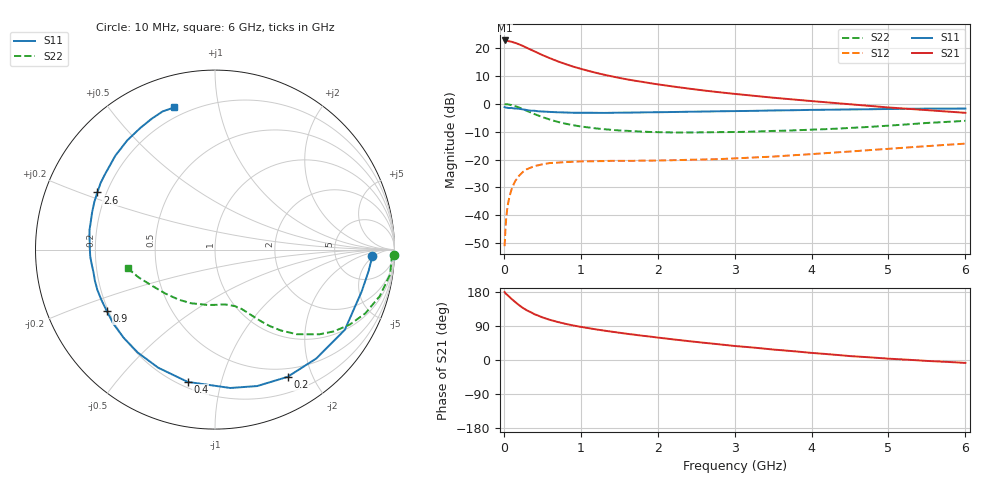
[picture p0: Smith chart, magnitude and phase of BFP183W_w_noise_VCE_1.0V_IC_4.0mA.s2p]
! Infineon Technologies  Discrete & RF Semiconductors
! BFP183W
! VCE =  1.0 V,  IC =  4.0 mA
! Common Emitter S-Parameters:  Jan 2017
# GHz  S  MA  R  50
!  f  S11  S21  S12  S22
! GHz  MAG  ANG  MAG  ANG  MAG  ANG  MAG  ANG
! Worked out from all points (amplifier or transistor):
!   77 points, 10 MHz to 6 GHz, reference 50 ohm
!   highest |S21| = 22.8 dB at 10 MHz (marker M1)
!   |S21| within 3 dB of that: start of sweep to 326.3 MHz
!   unconditionally stable (mu >= 1): 2.27 GHz to 5.3 GHz
!   at 130 MHz: K = 0.08, MSG = 25.4 dB, |S12| = -28.7 dB
!   at 2.2 GHz: K = 0.98, MSG = 13.2 dB, |S12| = -20.2 dB
!   at 6 GHz: K = 0.95, MSG = 5.5 dB, |S12| = -14.3 dB
!   lowest NFmin = 0.73 dB at 450 MHz
!   S11 on the Smith chart (normalised r, x): 10 MHz: 14, -5; 200 MHz: 0.39, -1.65; 400 MHz: 0.23, -0.79; 900 MHz: 0.19, -0.25; 2.6 GHz: 0.16, +0.22; 6 GHz: 0.15, +0.74
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0.01  0.8769 -2.5  13.74 179.3  0.0028 92.1  0.9975 -1.7
0.02  0.8647 -7.7  13.71 176.4  0.0054 88.5  0.9851 -3.2
0.04  0.8529 -13.1  13.53 172.6  0.0117 82.3  0.9844 -6.5
0.1  0.8502 -31.7  13.04 161.3  0.0292 73.8  0.9537 -15.8
0.15  0.8287 -47.0  12.42 152.6  0.0416 65.8  0.9098 -23.0
0.2  0.8162 -60.3  11.68 144.4  0.0518 59.3  0.8585 -29.2
0.25  0.7958 -72.8  10.92 137.1  0.0606 53.2  0.8042 -34.5
0.3  0.7757 -83.7  10.12 131.0  0.0674 48.2  0.7497 -39.0
0.4  0.7526 -101.7  8.737 120.6  0.0767 40.7  0.6553 -46.0
0.5  0.7301 -115.7  7.532 112.6  0.0824 34.7  0.5804 -50.9
0.6  0.7172 -126.9  6.587 105.9  0.0868 30.7  0.5223 -54.5
0.7  0.7074 -136.1  5.805 100.4  0.0883 27.3  0.4759 -57.2
0.8  0.701 -143.9  5.197 95.5  0.0904 25.8  0.4422 -59.3
0.9  0.6932 -150.5  4.673 91.2  0.0914 24.0  0.415 -61.2
1.1  0.6929 -161.0  3.912 84.1  0.0934 22.1  0.378 -64.3
1.5  0.6961 -176.7  2.929 72.0  0.0951 20.5  0.3339 -70.6
2.1  0.7113 165.7  2.145 56.9  0.0971 22.3  0.3091 -81.9
2.6  0.7289 154.1  1.739 45.5  0.1006 25.4  0.3086 -93.3
3.1  0.7451 144.0  1.465 35.3  0.1068 29.0  0.3147 -104.8
4.1  0.7828 127.2  1.094 17.2  0.1284 34.3  0.3486 -128.9
5.1  0.8119 114.9  0.844 2.4  0.1599 35.4  0.4157 -152.9
6  0.8245 105.9  0.691 -7.7  0.1937 33.0  0.4965 -167.8
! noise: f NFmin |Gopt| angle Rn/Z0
0.45  0.73  0.32  50  0.29
0.9  0.9  0.29  94  0.14
1.9  1.5  0.43  165  0.08
2.4  1.78  0.48  179  0.08
